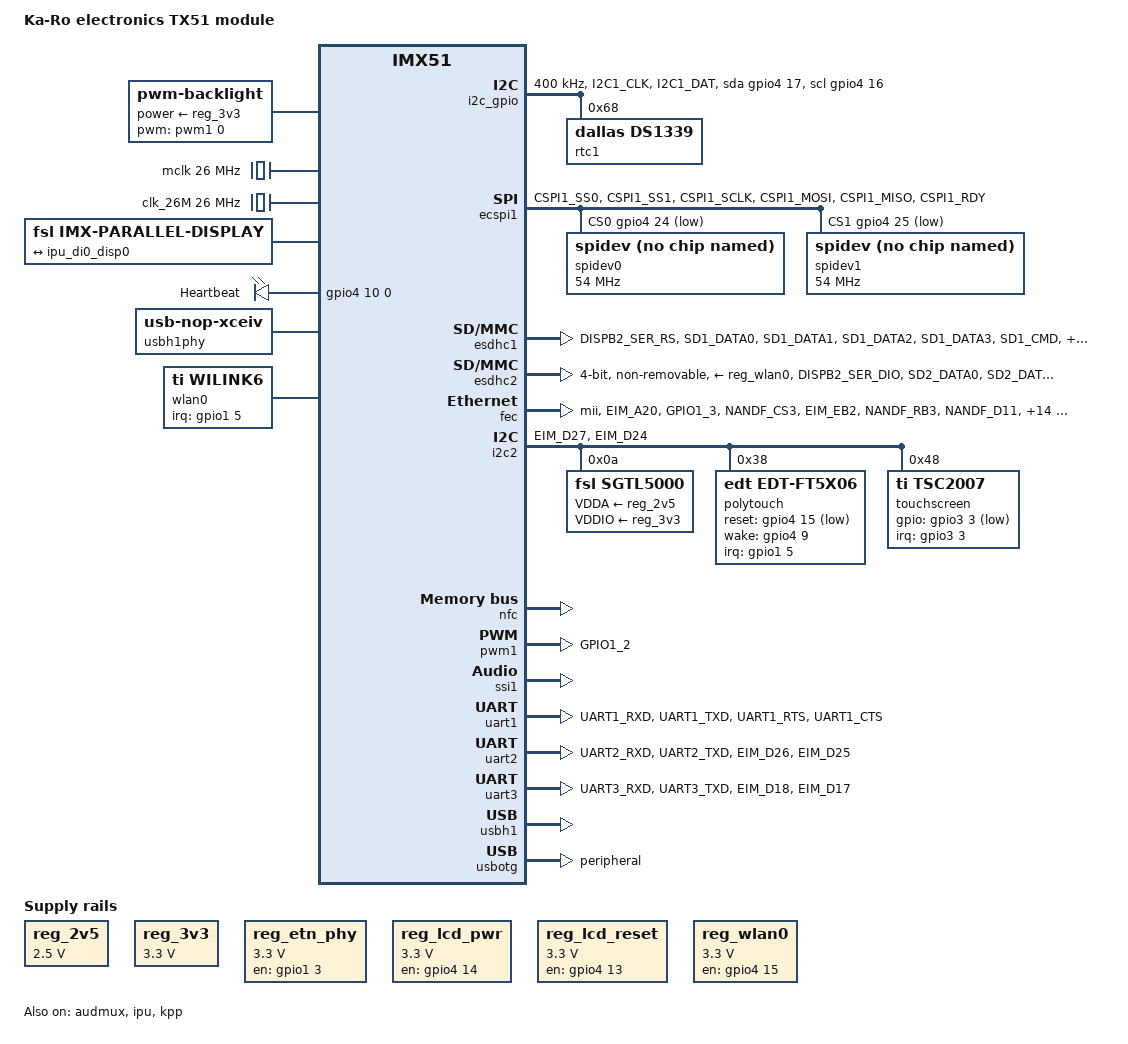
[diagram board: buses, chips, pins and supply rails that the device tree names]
/*
 * Copyright 2012-2014 Lothar Waßmann <LW@KARO-electronics.de>
 *
 * The code contained herein is licensed under the GNU General Public
 * License. You may obtain a copy of the GNU General Public License
 * Version 2 at the following locations:
 *
 * http://www.opensource.org/licenses/gpl-license.html
 * http://www.gnu.org/copyleft/gpl.html
 */

/dts-v1/;
#include "imx51.dtsi"
#include <dt-bindings/pwm/pwm.h>
#include <dt-bindings/interrupt-controller/irq.h>

/ {
	model = "Ka-Ro electronics TX51 module";
	compatible = "karo,tx51", "fsl,imx51";

	aliases {
		backlight = &backlight;
		display = &display;
		i2c1 = &i2c_gpio;
		usbotg = &usbotg;
		wlan0 = &wlan0;
	};

	chosen {
		stdout-path = &uart1;
	};

	backlight: pwm-backlight {
		compatible = "pwm-backlight";
		pwms = <&pwm1 0 500000 PWM_POLARITY_INVERTED>;
		power-supply = <&reg_3v3>;
		brightness-levels = <
			  0  1  2  3  4  5  6  7  8  9
			 10 11 12 13 14 15 16 17 18 19
			 20 21 22 23 24 25 26 27 28 29
			 30 31 32 33 34 35 36 37 38 39
			 40 41 42 43 44 45 46 47 48 49
			 50 51 52 53 54 55 56 57 58 59
			 60 61 62 63 64 65 66 67 68 69
			 70 71 72 73 74 75 76 77 78 79
			 80 81 82 83 84 85 86 87 88 89
			 90 91 92 93 94 95 96 97 98 99
			100
		>;
		default-brightness-level = <50>;
	};

	clocks {
		ckih1 {
			clock-frequency = <0>;
		};

		mclk: clock@0 {
			compatible = "fixed-clock";
			reg = <0>;
			#clock-cells = <0>;
			clock-output-names = "mclk";
			clock-frequency = <26000000>;
		};

		clk_26M: clock@1 {
			compatible = "fixed-clock";
			reg = <1>;
			#clock-cells = <0>;
			clock-output-names = "clk_26M";
			clock-frequency = <26000000>;
			gpios = <&gpio1 7 GPIO_ACTIVE_HIGH>;
		};

		wlan_ref_clk: wlan-ref-clk {
			compatible = "ti,wilink-clock";
			#clock-cells = <0>;
			clock-frequency = <38400000>;
		};
	};

	display: display@di0 {
		compatible = "fsl,imx-parallel-display";
		interface-pix-fmt = "rgb24";
		pinctrl-names = "default";
		pinctrl-0 = <&pinctrl_ipu_disp0>;

		display-timings {
			VGA {
				clock-frequency = <25200000>;
				hactive = <640>;
				vactive = <480>;
				hback-porch = <48>;
				hsync-len = <96>;
				hfront-porch = <16>;
				vback-porch = <31>;
				vsync-len = <2>;
				vfront-porch = <12>;
				hsync-active = <0>;
				vsync-active = <0>;
				de-active = <1>;
				pixelclk-active = <0>;
			};

			ETV570 {
				clock-frequency = <25200000>;
				hactive = <640>;
				vactive = <480>;
				hback-porch = <114>;
				hsync-len = <30>;
				hfront-porch = <16>;
				vback-porch = <32>;
				vsync-len = <3>;
				vfront-porch = <10>;
				hsync-active = <0>;
				vsync-active = <0>;
				de-active = <1>;
				pixelclk-active = <0>;
			};

			ET0350 {
				clock-frequency = <6413760>;
				hactive = <320>;
				vactive = <240>;
				hback-porch = <34>;
				hsync-len = <34>;
				hfront-porch = <20>;
				vback-porch = <15>;
				vsync-len = <3>;
				vfront-porch = <4>;
				hsync-active = <0>;
				vsync-active = <0>;
				de-active = <1>;
				pixelclk-active = <0>;
			};

			ET0430 {
				clock-frequency = <9009000>;
				hactive = <480>;
				vactive = <272>;
				hback-porch = <2>;
				hsync-len = <41>;
				hfront-porch = <2>;
				vback-porch = <2>;
				vsync-len = <10>;
				vfront-porch = <2>;
				hsync-active = <0>;
				vsync-active = <0>;
				de-active = <1>;
				pixelclk-active = <1>;
			};

			ET0500 {
				clock-frequency = <33264000>;
				hactive = <800>;
				vactive = <480>;
				hback-porch = <88>;
				hsync-len = <128>;
				hfront-porch = <40>;
				vback-porch = <33>;
				vsync-len = <2>;
				vfront-porch = <10>;
				hsync-active = <0>;
				vsync-active = <0>;
				de-active = <1>;
				pixelclk-active = <0>;
			};

			ET0700 { /* same as ET0500 */
				clock-frequency = <33264000>;
				hactive = <800>;
				vactive = <480>;
				hback-porch = <88>;
				hsync-len = <128>;
				hfront-porch = <40>;
				vback-porch = <33>;
				vsync-len = <2>;
				vfront-porch = <10>;
				hsync-active = <0>;
				vsync-active = <0>;
				de-active = <1>;
				pixelclk-active = <0>;
			};

			ETQ570 {
				clock-frequency = <6596040>;
				hactive = <320>;
				vactive = <240>;
				hback-porch = <38>;
				hsync-len = <30>;
				hfront-porch = <30>;
				vback-porch = <16>;
				vsync-len = <3>;
				vfront-porch = <4>;
				hsync-active = <0>;
				vsync-active = <0>;
				de-active = <1>;
				pixelclk-active = <0>;
			};
		};

		port {
			display0_in: endpoint {
				remote-endpoint = <&ipu_di0_disp0>;
			};
		};
	};

	i2c_gpio: i2c-gpio {
		#address-cells = <1>;
		#size-cells = <0>;
		compatible = "i2c-gpio";
		pinctrl-names = "default";
		pinctrl-0 = <&pinctrl_i2c_gpio>;
		gpios = <&gpio4 17 0
			 &gpio4 16 0>;
		clock-frequency = <400000>;

		rtc1: ds1339@68 {
			compatible = "dallas,ds1339";
			reg = <0x68>;
		};
	};

	leds {
		compatible = "gpio-leds";
		pinctrl-names = "default";
		pinctrl-0 = <&pinctrl_stk5led>;

		user {
			label = "Heartbeat";
			gpios = <&gpio4 10 0 GPIO_ACTIVE_HIGH>;
			linux,default-trigger = "heartbeat";
		};
	};

	regulators {
		compatible = "simple-bus";
		#address-cells = <1>;
		#size-cells = <0>;

		reg_2v5: regulator@0 {
			compatible = "regulator-fixed";
			reg = <0>;
			regulator-name = "2V5";
			regulator-min-microvolt = <2500000>;
			regulator-max-microvolt = <2500000>;
			regulator-always-on;
		};

		reg_3v3: regulator@1 {
			compatible = "regulator-fixed";
			reg = <1>;
			regulator-name = "3V3";
			regulator-min-microvolt = <3300000>;
			regulator-max-microvolt = <3300000>;
			regulator-always-on;
		};

		reg_etn_phy: regulator@2 {
			compatible = "regulator-fixed";
			reg = <2>;
			regulator-name = "ETN PHY Power";
			regulator-min-microvolt = <3300000>;
			regulator-max-microvolt = <3300000>;
			gpio = <&gpio1 3 GPIO_ACTIVE_HIGH>;
			enable-active-high;
			regulator-boot-on;
			regulator-always-on;
		};

		reg_lcd_pwr: regulator@5 {
			compatible = "regulator-fixed";
			reg = <5>;
			regulator-name = "LCD POWER";
			regulator-min-microvolt = <3300000>;
			regulator-max-microvolt = <3300000>;
			gpio = <&gpio4 14 GPIO_ACTIVE_HIGH>;
			enable-active-high;
			regulator-boot-on;
			regulator-always-on;
		};

		reg_lcd_reset: regulator@6 {
			compatible = "regulator-fixed";
			reg = <6>;
			regulator-name = "LCD RESET";
			regulator-min-microvolt = <3300000>;
			regulator-max-microvolt = <3300000>;
			pinctrl-names = "default";
			pinctrl-0 = <&pinctrl_lcd_reset>;
			gpio = <&gpio4 13 GPIO_ACTIVE_HIGH>;
			enable-active-high;
			regulator-boot-on;
			regulator-always-on;
		};

		reg_wlan0: regulator@9 {
			compatible = "regulator-fixed";
			reg = <8>;
			regulator-name = "wlan0";
			regulator-min-microvolt = <3300000>;
			regulator-max-microvolt = <3300000>;
			gpio = <&gpio4 15 GPIO_ACTIVE_HIGH>;
			enable-active-high;
		};
	};

	sound {
		compatible = "karo,tx51-audio-sgtl5000", "fsl,imx-audio-sgtl5000";
		model = "tx51-audio-sgtl5000";
		ssi-controller = <&ssi1>;
		audio-codec = <&sgtl5000>;
		audio-routing =
			"MIC_IN", "Mic Jack",
			"Mic Jack", "Mic Bias",
			"Headphone Jack", "HP_OUT";
		/* '1' based port numbers according to datasheet names */
		mux-int-port = <1>;
		mux-ext-port = <3>;
	};

	usbphy {
		#address-cells = <1>;
		#size-cells = <0>;
		compatible = "simple-bus";

		usbh1phy: usbphy@0 {
			compatible = "usb-nop-xceiv";
			reg = <0>;
			clocks = <&clk_26M>;
			clock-names = "main_clk";
		};
	};

	wlan0: tiwi-ble {
		compatible = "ti,wilink6";
		pinctrl-names = "default";
		pinctrl-0 = <&pinctrl_wlan0>;
		clocks = <&wlan_ref_clk>;
		clock-names = "refclock";
		interrupt-parent = <&gpio1>;
		interrupts = <5 IRQ_TYPE_LEVEL_LOW>;
	};
};

&audmux {
	pinctrl-names = "default";
	pinctrl-0 = <&pinctrl_ssi1>;
	status = "okay";
};

&ecspi1 {
	fsl,spi-num-chipselects = <2>;
	pinctrl-names = "default";
	pinctrl-0 = <&pinctrl_ecspi1>;
	cs-gpios = <&gpio4 24 GPIO_ACTIVE_LOW>,
		   <&gpio4 25 GPIO_ACTIVE_LOW>;
	status = "okay";

	spidev0: spi@0 {
		compatible = "spidev";
		reg = <0>;
		spi-max-frequency = <54000000>;
	};

	spidev1: spi@1 {
		compatible = "spidev";
		reg = <1>;
		spi-max-frequency = <54000000>;
	};
};

&esdhc1 {
	pinctrl-names = "default";
	pinctrl-0 = <&pinctrl_esdhc1>;
	cd-gpios = <&gpio3 8 GPIO_ACTIVE_LOW>;
	fsl,wp-controller;
	status = "okay";
};

&esdhc2 {
	pinctrl-names = "default";
	pinctrl-0 = <&pinctrl_esdhc2 &pinctrl_wlan0>;
	vmmc-supply = <&reg_wlan0>;
	bus-width = <4>;
	no-1-8-v;
	fsl,wp-controller;
	cap-sdio-irq;
	non-removable;
	//cd-gpios = <&gpio3 6 GPIO_ACTIVE_LOW>;
	status = "okay";
};

&fec {
	pinctrl-names = "default";
	pinctrl-0 = <&pinctrl_fec>;
	phy-mode = "mii";
//	phy-handle = <&phy0>;
	local-mac-address = [000000000000]; /* will be set by U-Boot */
	status = "okay";

	phy0: ethernet-phy@0 {
		interrupt-parent = <&gpio3>;
		interrupts = <18 0>;
		device_type = "ethernet-phy";
	};
};

&ipu {
	status = "okay";
};

&i2c2 {
	pinctrl-names = "default";
	pinctrl-0 = <&pinctrl_i2c2>;
	status = "okay";

	sgtl5000: sgtl5000@0a {
		compatible = "fsl,sgtl5000";
		reg = <0x0a>;
		clocks = <&mclk>;
		VDDA-supply = <&reg_2v5>;
		VDDIO-supply = <&reg_3v3>;
	};

	polytouch: edt-ft5x06@38 {
		compatible = "edt,edt-ft5x06";
		reg = <0x38>;
		pinctrl-names = "default";
		pinctrl-0 = <&pinctrl_edt_ft5x06>;
		interrupt-parent = <&gpio1>;
		interrupts = <5 0>;
		reset-gpios = <&gpio4 15 GPIO_ACTIVE_LOW>;
		wake-gpios = <&gpio4 9 GPIO_ACTIVE_HIGH>;
	};

	touchscreen: tsc2007@48 {
		compatible = "ti,tsc2007";
		reg = <0x48>;
		pinctrl-names = "default";
		pinctrl-0 = <&pinctrl_tsc2007>;
		interrupt-parent = <&gpio3>;
		interrupts = <3 0>;
		gpios = <&gpio3 3 GPIO_ACTIVE_LOW>;
		ti,x-plate-ohms = <660>;
		linux,wakeup;
	};
};

&iomuxc {
	imx51-tx51 {
		pinctrl_hog: hoggrp {
			fsl,pins = <
				MX51_PAD_GPIO1_7__GPIO1_7		0x20e0	/* 26MHz osc enable */
			>;
		};

		pinctrl_ecspi1: ecspi1grp {
			fsl,pins = <
				MX51_PAD_CSPI1_SS0__ECSPI1_SS0		0x4
				MX51_PAD_CSPI1_SS1__ECSPI1_SS1		0x4
				MX51_PAD_CSPI1_SCLK__ECSPI1_SCLK	0x5
				MX51_PAD_CSPI1_MOSI__ECSPI1_MOSI	0x85
				MX51_PAD_CSPI1_MISO__ECSPI1_MISO	0x185
				MX51_PAD_CSPI1_RDY__ECSPI1_RDY		0x84
			>;
		};

		pinctrl_edt_ft5x06: edt-ft5x056grp {
			fsl,pins = <
				MX51_PAD_GPIO1_5__GPIO1_5		0x20e0	/* Interrupt */
				MX51_PAD_CSI2_PIXCLK__GPIO4_15		0x20e0	/* Reset */
				MX51_PAD_CSI2_D12__GPIO4_9		0x20e0	/* Wake */
			>;
		};

		pinctrl_esdhc1: esdhc1grp {
			fsl,pins = <
				MX51_PAD_DISPB2_SER_RS__GPIO3_8 	0x1c0 /* SD1 CD */
				MX51_PAD_SD1_DATA0__SD1_DATA0		0x20d4
				MX51_PAD_SD1_DATA1__SD1_DATA1		0x20d4
				MX51_PAD_SD1_DATA2__SD1_DATA2		0x20d4
				MX51_PAD_SD1_DATA3__SD1_DATA3		0x20d4
				MX51_PAD_SD1_CMD__SD1_CMD		0x400020d4
				MX51_PAD_SD1_CLK__SD1_CLK		0x2004
			>;
		};

		pinctrl_esdhc2: esdhc2grp {
			fsl,pins = <
				MX51_PAD_DISPB2_SER_DIO__GPIO3_6	0x1c0 /* SD2 CD */
				MX51_PAD_SD2_DATA0__SD2_DATA0		0x20d4
				MX51_PAD_SD2_DATA1__SD2_DATA1		0x20d4
				MX51_PAD_SD2_DATA2__SD2_DATA2		0x20d4
				MX51_PAD_SD2_DATA3__SD2_DATA3		0x20d4
				MX51_PAD_SD2_CMD__SD2_CMD		0x400020d4
				MX51_PAD_SD2_CLK__SD2_CLK		0x2004
			>;
		};

		pinctrl_fec: fecgrp {
			fsl,pins = <
				MX51_PAD_EIM_A20__GPIO2_14		0x20e4	/* PHY reset */
				MX51_PAD_GPIO1_3__GPIO1_3		0x20e4	/* PHY power */
				MX51_PAD_NANDF_CS3__FEC_MDC		0x2004
				MX51_PAD_EIM_EB2__FEC_MDIO		0x0005
				MX51_PAD_NANDF_RB3__FEC_RX_CLK		0x2000
				MX51_PAD_NANDF_D11__FEC_RX_DV		0x2000
				MX51_PAD_NANDF_D9__FEC_RDATA0		0x2000
				MX51_PAD_EIM_EB3__FEC_RDATA1		0x0001
				MX51_PAD_EIM_CS2__FEC_RDATA2		0x0001
				MX51_PAD_EIM_CS3__FEC_RDATA3		0x0001
				MX51_PAD_EIM_CS4__FEC_RX_ER		0x0001
				MX51_PAD_NANDF_RDY_INT__FEC_TX_CLK	0x2000
				MX51_PAD_NANDF_CS7__FEC_TX_EN		0x2004
				MX51_PAD_NANDF_D8__FEC_TDATA0		0x2004
				MX51_PAD_NANDF_CS4__FEC_TDATA1		0x2004
				MX51_PAD_NANDF_CS5__FEC_TDATA2		0x2004
				MX51_PAD_NANDF_CS6__FEC_TDATA3		0x2004
				MX51_PAD_NANDF_RB2__FEC_COL		0x2000
				MX51_PAD_EIM_CS5__FEC_CRS		0x0005
				MX51_PAD_NANDF_CS2__GPIO3_18		0x20e4
			>;
		};

		pinctrl_i2c2: ipu-i2c2grp {
			fsl,pins = <
				 MX51_PAD_EIM_D27__I2C2_SCL		0x40000004
				 MX51_PAD_EIM_D24__I2C2_SDA		0x40000004
			>;
		};

		pinctrl_i2c_gpio: ipu-i2c-gpiogrp {
			fsl,pins = <
				 MX51_PAD_I2C1_CLK__GPIO4_16		0x40000004
				 MX51_PAD_I2C1_DAT__GPIO4_17		0x40000004
			>;
		};

		pinctrl_ipu_disp0: ipu-disp0grp {
			fsl,pins = <
				MX51_PAD_DISP1_DAT0__DISP1_DAT0		0x5
				MX51_PAD_DISP1_DAT1__DISP1_DAT1		0x5
				MX51_PAD_DISP1_DAT2__DISP1_DAT2		0x5
				MX51_PAD_DISP1_DAT3__DISP1_DAT3		0x5
				MX51_PAD_DISP1_DAT4__DISP1_DAT4		0x5
				MX51_PAD_DISP1_DAT5__DISP1_DAT5		0x5
				MX51_PAD_DISP1_DAT6__DISP1_DAT6		0x5
				MX51_PAD_DISP1_DAT7__DISP1_DAT7		0x5
				MX51_PAD_DISP1_DAT8__DISP1_DAT8		0x5
				MX51_PAD_DISP1_DAT9__DISP1_DAT9		0x5
				MX51_PAD_DISP1_DAT10__DISP1_DAT10	0x5
				MX51_PAD_DISP1_DAT11__DISP1_DAT11	0x5
				MX51_PAD_DISP1_DAT12__DISP1_DAT12	0x5
				MX51_PAD_DISP1_DAT13__DISP1_DAT13	0x5
				MX51_PAD_DISP1_DAT14__DISP1_DAT14	0x5
				MX51_PAD_DISP1_DAT15__DISP1_DAT15	0x5
				MX51_PAD_DISP1_DAT16__DISP1_DAT16	0x5
				MX51_PAD_DISP1_DAT17__DISP1_DAT17	0x5
				MX51_PAD_DISP1_DAT18__DISP1_DAT18	0x5
				MX51_PAD_DISP1_DAT19__DISP1_DAT19	0x5
				MX51_PAD_DISP1_DAT20__DISP1_DAT20	0x5
				MX51_PAD_DISP1_DAT21__DISP1_DAT21	0x5
				MX51_PAD_DISP1_DAT22__DISP1_DAT22	0x5
				MX51_PAD_DISP1_DAT23__DISP1_DAT23	0x5
				MX51_PAD_DI1_PIN2__DI1_PIN2		0x5 /* HSYNC */
				MX51_PAD_DI1_PIN3__DI1_PIN3		0x5 /* VSYNC */
			>;
		};

		pinctrl_kpp: kppgrp-1 {
			fsl,pins = <
				MX51_PAD_KEY_ROW0__KEY_ROW0		0xe0
				MX51_PAD_KEY_ROW1__KEY_ROW1		0xe0
				MX51_PAD_KEY_ROW2__KEY_ROW2		0xe0
				MX51_PAD_KEY_ROW3__KEY_ROW3		0xe0
				MX51_PAD_KEY_COL0__KEY_COL0		0xe8
				MX51_PAD_KEY_COL1__KEY_COL1		0xe8
				MX51_PAD_KEY_COL2__KEY_COL2		0xe8
				MX51_PAD_KEY_COL3__KEY_COL3		0xe8
				MX51_PAD_KEY_COL4__KEY_COL4		0xe8
				MX51_PAD_KEY_COL5__KEY_COL5		0xe8
			>;
		};

		pinctrl_lcd_pwr: lcd-pwrgrp {
			fsl,pins = <
				MX51_PAD_CSI2_HSYNC__GPIO4_14		0x4
			>;
		};

		pinctrl_lcd_reset: lcd-resetgrp {
			fsl,pins = <
				MX51_PAD_CSI2_VSYNC__GPIO4_13		0x4
			>;
		};

		pinctrl_pwm1: pwm1grp {
			fsl,pins = <
				MX51_PAD_GPIO1_2__PWM1_PWMO		0xf4
			>;
		};

		pinctrl_ssi1: ssi1grp {
			fsl,pins = <
				MX51_PAD_AUD3_BB_RXD__AUD3_RXD		0x5
				MX51_PAD_AUD3_BB_TXD__AUD3_TXD		0x5
				MX51_PAD_AUD3_BB_CK__AUD3_TXC		0x5
				MX51_PAD_AUD3_BB_FS__AUD3_TXFS		0x5
			>;
		};

		pinctrl_ssi2: ssi2grp {
			fsl,pins = <
				MX51_PAD_EIM_D29__AUD6_RXD		0x5
				MX51_PAD_EIM_D28__AUD6_TXD		0x5
				MX51_PAD_EIM_D30__AUD6_TXC		0x5
				MX51_PAD_EIM_D31__AUD6_TXFS		0x5
			>;
		};

		pinctrl_stk5led: stk5ledgrp {
			fsl,pins = <
				MX51_PAD_CSI2_D13__GPIO4_10		0x20e4
			>;
		};

		pinctrl_tsc2007: tsc2007grp {
			fsl,pins = <
				MX51_PAD_DI1_D0_CS__GPIO3_3		0xc0	/* Pen-Down Interrupt */
			>;
		};

		pinctrl_uart1: uart1grp {
			fsl,pins = <
				MX51_PAD_UART1_RXD__UART1_RXD		0xc1
				MX51_PAD_UART1_TXD__UART1_TXD		0xc5
				MX51_PAD_UART1_RTS__UART1_RTS		0xc1
				MX51_PAD_UART1_CTS__UART1_CTS		0xc5
			>;
		};

		pinctrl_uart2: uart2grp {
			fsl,pins = <
				MX51_PAD_UART2_RXD__UART2_RXD		0xc1
				MX51_PAD_UART2_TXD__UART2_TXD		0xc5
				MX51_PAD_EIM_D26__UART2_RTS		0xc1
				MX51_PAD_EIM_D25__UART2_CTS		0xc5
			>;
		};

		pinctrl_uart3: uart3grp {
			fsl,pins = <
				MX51_PAD_UART3_RXD__UART3_RXD		0xc1
				MX51_PAD_UART3_TXD__UART3_TXD		0xc5
				MX51_PAD_EIM_D18__UART3_RTS		0xc1
				MX51_PAD_EIM_D17__UART3_CTS		0xc5
			>;
		};

		pinctrl_wlan0: wlan0grp {
			fsl,pins = <
				MX51_PAD_CSI2_PIXCLK__GPIO4_15		0x04 /* WL_EN */
				MX51_PAD_GPIO1_5__GPIO1_5		0xf0 /* WL_IRQ */
			>;
		};
	};
};

&ipu_di0_disp0 {
	remote-endpoint = <&display0_in>;
};

&kpp {
	pinctrl-names = "default";
	pinctrl-0 = <&pinctrl_kpp>;
	linux,keymap = <	/* sample keymap */
		MATRIX_KEY(0, 0, KEY_POWER)
		MATRIX_KEY(0, 1, KEY_KP0)
		MATRIX_KEY(0, 2, KEY_KP1)
		MATRIX_KEY(0, 3, KEY_KP2)
		MATRIX_KEY(1, 0, KEY_KP3)
		MATRIX_KEY(1, 1, KEY_KP4)
		MATRIX_KEY(1, 2, KEY_KP5)
		MATRIX_KEY(1, 3, KEY_KP6)
		MATRIX_KEY(2, 0, KEY_KP7)
		MATRIX_KEY(2, 1, KEY_KP8)
		MATRIX_KEY(2, 2, KEY_KP9)
	>;
	status = "okay";
};

&nfc {
	nand-bus-width = <8>;
	nand-ecc-mode = "hw";
	nand-on-flash-bbt;
	status = "okay";
};

&pwm1 {
	pinctrl-names = "default";
	pinctrl-0 = <&pinctrl_pwm1>;
};

&ssi1 {
	fsl,mode = "i2s-slave";
	codec-handle = <&sgtl5000>;
	status = "okay";
};

&ssi2 {
	status = "disabled";
};

&uart1 {
	pinctrl-names = "default";
	pinctrl-0 = <&pinctrl_uart1>;
	fsl,uart-has-rtscts;
	status = "okay";
};

&uart2 {
	pinctrl-names = "default";
	pinctrl-0 = <&pinctrl_uart2>;
	fsl,uart-has-rtscts;
	status = "okay";
};

&uart3 {
	pinctrl-names = "default";
	pinctrl-0 = <&pinctrl_uart3>;
	fsl,uart-has-rtscts;
	status = "okay";
};

&usbh1 {
	phy_type = "ulpi";
	fsl,usphy = <&usbh1phy>;
	disable-over-current;
	status = "okay";
};

&usbotg {
	dr_mode = "peripheral";
	phy_type = "utmi_wide";
	disable-over-current;
	status = "okay";
};
